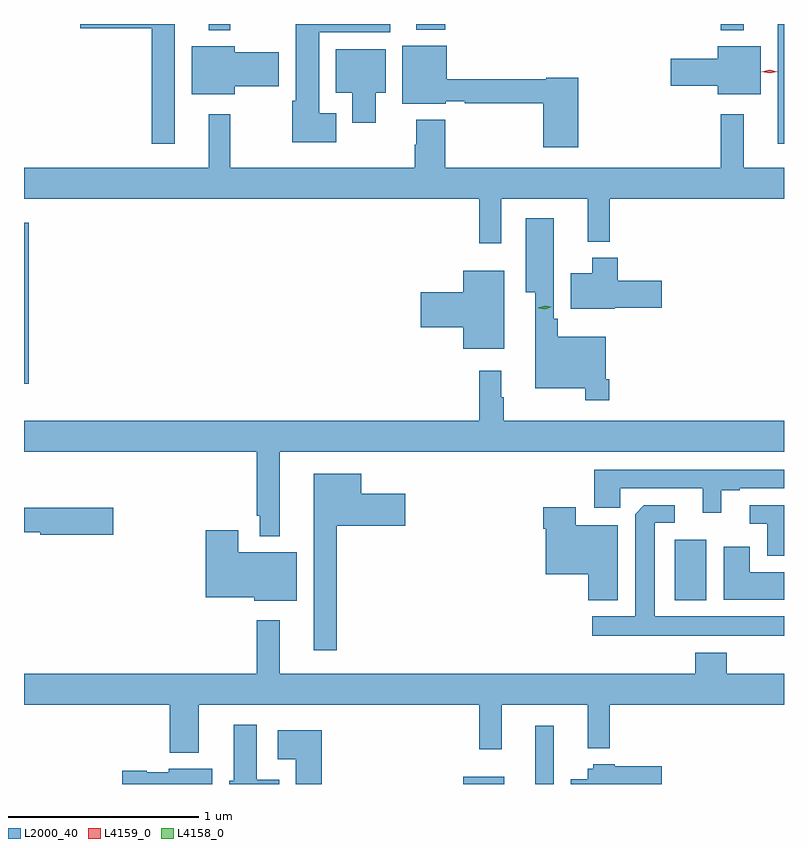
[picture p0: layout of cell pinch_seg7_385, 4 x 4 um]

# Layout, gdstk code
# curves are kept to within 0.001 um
import gdstk
lib = gdstk.Library(unit=1e-6, precision=1e-09)
def R(c, l, rs):  # rectangles x0, y0, x1, y1
    for r in rs: c.add(gdstk.rectangle(r[:2], r[2:], *l))
def P(c, l, *ps):  # polygons
    for p in ps: c.add(gdstk.Polygon(p, *l))
L2000_40 = (2000, 40)
L4158_0 = (4158, 0)
L4159_0 = (4159, 0)

pinch_seg7_385 = lib.new_cell('pinch_seg7_385')
R(pinch_seg7_385, L2000_40, [(496.136,1013.52,496.351,1013.557), (496.514,1013.52,496.611,1013.827), (497.249,1014.488,497.413,1014.805), (493.823,1015.626,493.847,1016.473), (497.789,1016.889,497.823,1017.52), (494.795,1017.488,494.909,1017.52), (497.49,1017.488,497.611,1017.52), (495.887,1017.491,496.04,1017.52)])
P(pinch_seg7_385, L2000_40, [(494.617,1017.52),(494.118,1017.52),(494.118,1017.497),(494.496,1017.497),(494.496,1016.889),(494.617,1016.889)],
  [(495.466,1017.049),(495.376,1017.049),(495.376,1017.476),(495.751,1017.476),(495.751,1017.52),(495.254,1017.52),(495.254,1017.115),(495.236,1017.115),(495.236,1016.897),(495.466,1016.897)],
  [(496.739,1017.238),(496.572,1017.238),(496.572,1017.23),(496.048,1017.23),(496.048,1017.406),(495.815,1017.406),(495.815,1017.101),(496.044,1017.101),(496.044,1017.114),(496.144,1017.114),(496.144,1017.102),(496.556,1017.102),(496.556,1016.871),(496.739,1016.871)],
  [(497.701,1017.403),(497.474,1017.403),(497.474,1017.338),(497.226,1017.338),(497.226,1017.196),(497.474,1017.196),(497.474,1017.149),(497.701,1017.149)],
  [(494.932,1017.193),(495.163,1017.193),(495.163,1017.371),(494.932,1017.371),(494.932,1017.403),(494.705,1017.403),(494.705,1017.149),(494.932,1017.149)],
  [(495.673,1017.158),(495.727,1017.158),(495.727,1017.388),(495.464,1017.388),(495.464,1017.158),(495.551,1017.158),(495.551,1017),(495.673,1017)],
  [(494.795,1017.046),(494.795,1016.764),(493.823,1016.764),(493.823,1016.6),(496.219,1016.6),(496.219,1016.367),(496.335,1016.367),(496.335,1016.6),(496.79,1016.6),(496.79,1016.375),(496.907,1016.375),(496.907,1016.6),(497.823,1016.6),(497.823,1016.764),(497.611,1016.764),(497.611,1017.046),(497.49,1017.046),(497.49,1016.764),(496.04,1016.764),(496.04,1017.016),(495.887,1017.016),(495.887,1016.885),(495.88,1016.885),(495.88,1016.764),(494.909,1016.764),(494.909,1017.046)],
  [(496.904,1015.651),(496.884,1015.651),(496.884,1015.873),(496.631,1015.873),(496.631,1015.969),(496.612,1015.969),(496.612,1016.497),(496.463,1016.497),(496.463,1016.108),(496.514,1016.108),(496.514,1015.604),(496.776,1015.604),(496.776,1015.539),(496.904,1015.539)],
  [(496.932,1016.027),(497.179,1016.027),(497.179,1016.169),(496.949,1016.169),(496.949,1016.29),(496.814,1016.29),(496.814,1016.209),(496.7,1016.209),(496.7,1016.021),(496.932,1016.021)],
  [(496.351,1016.221),(496.136,1016.221),(496.136,1016.108),(495.912,1016.108),(495.912,1015.925),(496.136,1015.925),(496.136,1015.811),(496.351,1015.811)],
  [(495.169,1015.268),(497.823,1015.268),(497.823,1015.432),(496.348,1015.432),(496.348,1015.556),(496.336,1015.556),(496.336,1015.696),(496.219,1015.696),(496.219,1015.432),(493.823,1015.432),(493.823,1015.268),(495.048,1015.268),(495.048,1014.931),(495.065,1014.931),(495.065,1014.824),(495.169,1014.824)],
  [(497.494,1015.065),(497.59,1015.065),(497.59,1015.077),(497.823,1015.077),(497.823,1015.173),(496.823,1015.173),(496.823,1014.974),(496.962,1014.974),(496.962,1015.077),(497.396,1015.077),(497.396,1014.948),(497.494,1014.948)],
  [(495.469,1014.878),(495.829,1014.878),(495.829,1015.048),(495.598,1015.048),(495.598,1015.153),(495.347,1015.153),(495.347,1014.225),(495.469,1014.225)],
  [(497.823,1014.987),(497.643,1014.987),(497.643,1014.891),(497.735,1014.891),(497.735,1014.722),(497.823,1014.722)],
  [(497.823,1014.403),(497.143,1014.403),(497.143,1014.894),(497.248,1014.894),(497.248,1014.987),(497.086,1014.987),(497.04,1014.941),(497.039,1014.403),(496.815,1014.403),(496.815,1014.299),(497.823,1014.299)],
  [(496.948,1014.883),(496.726,1014.883),(496.726,1014.976),(496.556,1014.976),(496.556,1014.863),(496.568,1014.863),(496.568,1014.623),(496.793,1014.623),(496.793,1014.488),(496.948,1014.488)],
  [(494.293,1014.975),(493.823,1014.975),(493.823,1014.845),(493.908,1014.845),(493.908,1014.833),(494.293,1014.833)],
  [(495.259,1014.739),(494.95,1014.739),(494.95,1014.856),(494.78,1014.856),(494.78,1014.503),(495.036,1014.503),(495.036,1014.485),(495.259,1014.485)],
  [(497.823,1014.634),(497.644,1014.634),(497.644,1014.769),(497.507,1014.769),(497.507,1014.491),(497.823,1014.491)],
  [(494.743,1013.936),(496.219,1013.936),(496.219,1013.703),(496.337,1013.703),(496.337,1013.936),(496.79,1013.936),(496.79,1013.708),(496.907,1013.708),(496.907,1013.936),(497.823,1013.936),(497.823,1014.1),(497.522,1014.1),(497.522,1014.211),(497.357,1014.211),(497.357,1014.1),(495.169,1014.1),(495.169,1014.382),(495.048,1014.382),(495.048,1014.1),(493.823,1014.1),(493.823,1013.936),(494.591,1013.936),(494.591,1013.684),(494.743,1013.684)],
  [(495.166,1013.542),(495.049,1013.542),(495.049,1013.833),(494.927,1013.833),(494.927,1013.538),(494.903,1013.538),(494.903,1013.52),(495.166,1013.52)],
  [(495.389,1013.803),(495.159,1013.803),(495.159,1013.651),(495.254,1013.651),(495.254,1013.52),(495.389,1013.52)],
  [(497.179,1013.613),(496.932,1013.613),(496.932,1013.623),(496.818,1013.623),(496.818,1013.601),(496.79,1013.601),(496.79,1013.545),(496.7,1013.545),(496.7,1013.52),(497.179,1013.52)],
  [(494.815,1013.599),(494.586,1013.599),(494.586,1013.581),(494.469,1013.581),(494.469,1013.589),(494.34,1013.589),(494.34,1013.52),(494.815,1013.52)])
P(pinch_seg7_385, L4158_0, [(496.566,1016.018),(496.529,1016.025),(496.529,1016.026),(496.529,1016.026),(496.564,1016.038),(496.601,1016.031),(496.601,1016.031),(496.601,1016.031)])
P(pinch_seg7_385, L4159_0, [(497.747,1017.26),(497.706,1017.27),(497.706,1017.27),(497.706,1017.27),(497.747,1017.28),(497.788,1017.27),(497.788,1017.27),(497.788,1017.27)])

lib.write_gds('pinch_seg7_385.gds')
